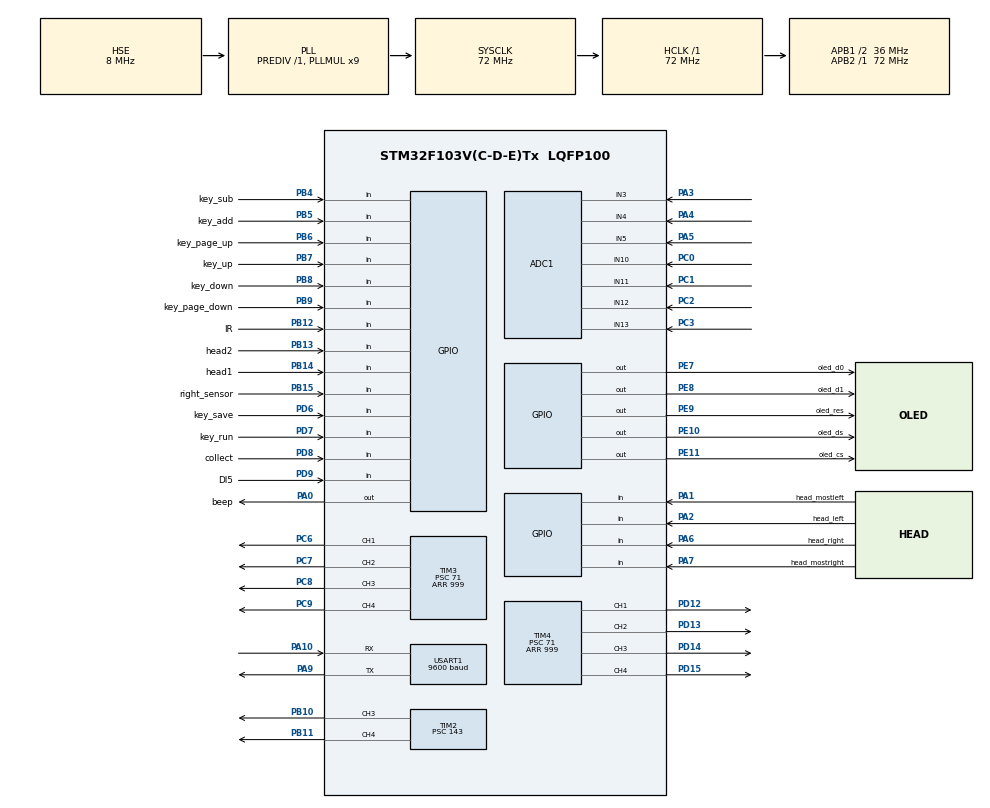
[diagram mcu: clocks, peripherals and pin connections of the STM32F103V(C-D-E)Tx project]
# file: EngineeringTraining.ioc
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ADC1.Channel-0\#ChannelRegularConversion=ADC_CHANNEL_3
ADC1.Channel-1\#ChannelRegularConversion=ADC_CHANNEL_4
ADC1.Channel-2\#ChannelRegularConversion=ADC_CHANNEL_5
ADC1.Channel-3\#ChannelRegularConversion=ADC_CHANNEL_10
ADC1.Channel-4\#ChannelRegularConversion=ADC_CHANNEL_11
ADC1.Channel-5\#ChannelRegularConversion=ADC_CHANNEL_12
ADC1.Channel-6\#ChannelRegularConversion=ADC_CHANNEL_13
ADC1.ContinuousConvMode=ENABLE
ADC1.DataAlign=ADC_DATAALIGN_RIGHT
ADC1.DiscontinuousConvMode=DISABLE
ADC1.EnableAnalogWatchDog=false
ADC1.EnableRegularConversion=ENABLE
ADC1.ExternalTrigConv=ADC_SOFTWARE_START
ADC1.InjNumberOfConversion=0
ADC1.NbrOfConversion=7
ADC1.NbrOfConversionFlag=1
ADC1.Rank-0\#ChannelRegularConversion=1
ADC1.Rank-1\#ChannelRegularConversion=2
ADC1.Rank-2\#ChannelRegularConversion=3
ADC1.Rank-3\#ChannelRegularConversion=4
ADC1.Rank-4\#ChannelRegularConversion=5
ADC1.Rank-5\#ChannelRegularConversion=6
ADC1.Rank-6\#ChannelRegularConversion=7
ADC1.SamplingTime-0\#ChannelRegularConversion=ADC_SAMPLETIME_71CYCLES_5
ADC1.SamplingTime-1\#ChannelRegularConversion=ADC_SAMPLETIME_71CYCLES_5
ADC1.SamplingTime-2\#ChannelRegularConversion=ADC_SAMPLETIME_71CYCLES_5
ADC1.SamplingTime-3\#ChannelRegularConversion=ADC_SAMPLETIME_71CYCLES_5
ADC1.SamplingTime-4\#ChannelRegularConversion=ADC_SAMPLETIME_71CYCLES_5
ADC1.SamplingTime-5\#ChannelRegularConversion=ADC_SAMPLETIME_71CYCLES_5
ADC1.SamplingTime-6\#ChannelRegularConversion=ADC_SAMPLETIME_71CYCLES_5
ADC1.ScanConvMode=ADC_SCAN_ENABLE
ADC1.master=1
Dma.ADC1.0.Direction=DMA_PERIPH_TO_MEMORY
Dma.ADC1.0.Instance=DMA1_Channel1
Dma.ADC1.0.MemDataAlignment=DMA_MDATAALIGN_WORD
Dma.ADC1.0.MemInc=DMA_MINC_ENABLE
Dma.ADC1.0.Mode=DMA_CIRCULAR
Dma.ADC1.0.PeriphDataAlignment=DMA_PDATAALIGN_WORD
Dma.ADC1.0.PeriphInc=DMA_PINC_DISABLE
Dma.ADC1.0.Priority=DMA_PRIORITY_LOW
Dma.Request0=ADC1
Dma.Request1=USART1_TX
Dma.USART1_TX.1.Direction=DMA_MEMORY_TO_PERIPH
Dma.USART1_TX.1.Instance=DMA1_Channel4
Dma.USART1_TX.1.MemDataAlignment=DMA_MDATAALIGN_BYTE
Dma.USART1_TX.1.MemInc=DMA_MINC_ENABLE
Dma.USART1_TX.1.Mode=DMA_NORMAL
Dma.USART1_TX.1.PeriphDataAlignment=DMA_PDATAALIGN_BYTE
Dma.USART1_TX.1.PeriphInc=DMA_PINC_DISABLE
Dma.USART1_TX.1.Priority=DMA_PRIORITY_LOW
Mcu.Family=STM32F1
Mcu.Name=STM32F103V(C-D-E)Tx
Mcu.Package=LQFP100
NVIC.DMA1_Channel1_IRQn=true\:0\:0\:false\:false\:true\:false
NVIC.DMA1_Channel4_IRQn=true\:0\:0\:false\:false\:true\:false
NVIC.PriorityGroup=NVIC_PRIORITYGROUP_4
NVIC.TIM7_IRQn=true\:0\:0\:false\:false\:true\:true
NVIC.USART1_IRQn=true\:0\:0\:false\:false\:true\:true
OSC_IN.Mode=HSE-External-Oscillator
OSC_IN.Signal=RCC_OSC_IN
OSC_OUT.Mode=HSE-External-Oscillator
OSC_OUT.Signal=RCC_OSC_OUT
PA0-WKUP.GPIO_Label=beep
PA0-WKUP.GPIO_ModeDefaultOutputPP=GPIO_MODE_OUTPUT_PP
PA0-WKUP.GPIO_Speed=GPIO_SPEED_FREQ_HIGH
PA0-WKUP.PinState=GPIO_PIN_RESET
PA0-WKUP.Signal=GPIO_Output
PA1.GPIO_Label=head_mostleft
PA1.GPIO_Mode=GPIO_MODE_INPUT
PA1.GPIO_PuPd=GPIO_PULLUP
PA1.Signal=GPIO_Input
PA10.Mode=Asynchronous
PA10.Signal=USART1_RX
PA13.Mode=Serial_Wire
PA13.Signal=SYS_JTMS-SWDIO
PA14.Mode=Serial_Wire
PA14.Signal=SYS_JTCK-SWCLK
PA2.GPIO_Label=head_left
PA2.GPIO_Mode=GPIO_MODE_INPUT
PA2.GPIO_PuPd=GPIO_PULLUP
PA2.Signal=GPIO_Input
PA3.Signal=ADCx_IN3
PA4.Signal=ADCx_IN4
PA5.Signal=ADCx_IN5
PA6.GPIO_Label=head_right
PA6.GPIO_Mode=GPIO_MODE_INPUT
PA6.GPIO_PuPd=GPIO_PULLUP
PA6.Signal=GPIO_Input
PA7.GPIO_Label=head_mostright
PA7.GPIO_Mode=GPIO_MODE_INPUT
PA7.GPIO_PuPd=GPIO_PULLUP
PA7.Signal=GPIO_Input
PA9.Mode=Asynchronous
PA9.Signal=USART1_TX
PB10.Signal=S_TIM2_CH3
PB11.Signal=S_TIM2_CH4
PB12.GPIO_Label=IR
PB12.GPIO_PuPd=GPIO_PULLUP
PB12.Signal=GPIO_Input
PB13.GPIO_Label=head2
PB13.GPIO_PuPd=GPIO_PULLUP
PB13.Signal=GPIO_Input
PB14.GPIO_Label=head1
PB14.GPIO_PuPd=GPIO_PULLUP
PB14.Signal=GPIO_Input
PB15.GPIO_Label=right_sensor
PB15.GPIO_PuPd=GPIO_PULLUP
PB15.Signal=GPIO_Input
PB4.GPIO_Label=key_sub
PB4.GPIO_PuPd=GPIO_PULLUP
PB4.Signal=GPIO_Input
PB5.GPIO_Label=key_add
PB5.GPIO_PuPd=GPIO_PULLUP
PB5.Signal=GPIO_Input
PB6.GPIO_Label=key_page_up
PB6.GPIO_PuPd=GPIO_PULLUP
PB6.Signal=GPIO_Input
PB7.GPIO_Label=key_up
PB7.GPIO_PuPd=GPIO_PULLUP
PB7.Signal=GPIO_Input
PB8.GPIO_Label=key_down
PB8.GPIO_PuPd=GPIO_PULLUP
PB8.Signal=GPIO_Input
PB9.GPIO_Label=key_page_down
PB9.GPIO_PuPd=GPIO_PULLUP
PB9.Signal=GPIO_Input
PC0.Signal=ADCx_IN10
PC1.Signal=ADCx_IN11
PC2.Signal=ADCx_IN12
PC3.Signal=ADCx_IN13
PC6.Signal=S_TIM3_CH1
PC7.Signal=S_TIM3_CH2
PC8.Signal=S_TIM3_CH3
PC9.Signal=S_TIM3_CH4
PD12.Signal=S_TIM4_CH1
PD13.Signal=S_TIM4_CH2
PD14.Signal=S_TIM4_CH3
PD15.Signal=S_TIM4_CH4
PD6.GPIO_Label=key_save
PD6.GPIO_PuPd=GPIO_PULLUP
PD6.Signal=GPIO_Input
PD7.GPIO_Label=key_run
PD7.GPIO_PuPd=GPIO_PULLUP
PD7.Signal=GPIO_Input
PD8.GPIO_Label=collect
PD8.GPIO_PuPd=GPIO_PULLUP
PD8.Signal=GPIO_Input
PD9.GPIO_Label=DI5
PD9.GPIO_PuPd=GPIO_PULLUP
PD9.Signal=GPIO_Input
PE10.GPIO_Label=oled_ds
PE10.GPIO_ModeDefaultOutputPP=GPIO_MODE_OUTPUT_PP
PE10.GPIO_Speed=GPIO_SPEED_FREQ_HIGH
PE10.PinState=GPIO_PIN_RESET
PE10.Signal=GPIO_Output
PE11.GPIO_Label=oled_cs
PE11.GPIO_ModeDefaultOutputPP=GPIO_MODE_OUTPUT_PP
PE11.GPIO_Speed=GPIO_SPEED_FREQ_HIGH
PE11.PinState=GPIO_PIN_RESET
PE11.Signal=GPIO_Output
PE7.GPIO_Label=oled_d0
PE7.GPIO_ModeDefaultOutputPP=GPIO_MODE_OUTPUT_PP
PE7.GPIO_Speed=GPIO_SPEED_FREQ_HIGH
PE7.PinState=GPIO_PIN_RESET
PE7.Signal=GPIO_Output
PE8.GPIO_Label=oled_d1
PE8.GPIO_ModeDefaultOutputPP=GPIO_MODE_OUTPUT_PP
PE8.GPIO_Speed=GPIO_SPEED_FREQ_HIGH
PE8.PinState=GPIO_PIN_RESET
PE8.Signal=GPIO_Output
PE9.GPIO_Label=oled_res
PE9.GPIO_ModeDefaultOutputPP=GPIO_MODE_OUTPUT_PP
PE9.GPIO_Speed=GPIO_SPEED_FREQ_HIGH
PE9.PinState=GPIO_PIN_RESET
PE9.Signal=GPIO_Output
ProjectManager.HeapSize=0x200
ProjectManager.StackSize=0x400
ProjectManager.TargetToolchain=MDK-ARM V5
RCC.ADCPresc=RCC_ADCPCLK2_DIV6
RCC.AHBFreq_Value=72000000
RCC.APB1CLKDivider=RCC_HCLK_DIV2
RCC.APB1Freq_Value=36000000
RCC.APB1TimFreq_Value=72000000
RCC.APB2Freq_Value=72000000
RCC.APB2TimFreq_Value=72000000
RCC.HCLKFreq_Value=72000000
RCC.PLLMUL=RCC_PLL_MUL9
RCC.PLLSourceVirtual=RCC_PLLSOURCE_HSE
RCC.SYSCLKFreq_VALUE=72000000
RCC.SYSCLKSource=RCC_SYSCLKSOURCE_PLLCLK
RCC.USBFreq_Value=72000000
SH.ADCx_IN10.0=ADC1_IN10,IN10
SH.ADCx_IN11.0=ADC1_IN11,IN11
SH.ADCx_IN12.0=ADC1_IN12,IN12
SH.ADCx_IN13.0=ADC1_IN13,IN13
SH.ADCx_IN3.0=ADC1_IN3,IN3
SH.ADCx_IN4.0=ADC1_IN4,IN4
SH.ADCx_IN5.0=ADC1_IN5,IN5
SH.S_TIM2_CH3.0=TIM2_CH3,PWM Generation3 CH3
SH.S_TIM2_CH4.0=TIM2_CH4,PWM Generation4 CH4
SH.S_TIM3_CH1.0=TIM3_CH1,PWM Generation1 CH1
SH.S_TIM3_CH2.0=TIM3_CH2,PWM Generation2 CH2
SH.S_TIM3_CH3.0=TIM3_CH3,PWM Generation3 CH3
SH.S_TIM3_CH4.0=TIM3_CH4,PWM Generation4 CH4
SH.S_TIM4_CH1.0=TIM4_CH1,PWM Generation1 CH1
SH.S_TIM4_CH2.0=TIM4_CH2,PWM Generation2 CH2
SH.S_TIM4_CH3.0=TIM4_CH3,PWM Generation3 CH3
SH.S_TIM4_CH4.0=TIM4_CH4,PWM Generation4 CH4
TIM2.Channel-PWM\ Generation3\ CH3=TIM_CHANNEL_3
TIM2.Channel-PWM\ Generation4\ CH4=TIM_CHANNEL_4
TIM2.Period=9999
TIM2.Prescaler=143
TIM2.Pulse-PWM\ Generation3\ CH3=1000
TIM2.Pulse-PWM\ Generation4\ CH4=1000
TIM3.Channel-PWM\ Generation1\ CH1=TIM_CHANNEL_1
TIM3.Channel-PWM\ Generation2\ CH2=TIM_CHANNEL_2
TIM3.Channel-PWM\ Generation3\ CH3=TIM_CHANNEL_3
TIM3.Channel-PWM\ Generation4\ CH4=TIM_CHANNEL_4
TIM3.Period=999
TIM3.Prescaler=71
TIM4.Channel-PWM\ Generation1\ CH1=TIM_CHANNEL_1
TIM4.Channel-PWM\ Generation2\ CH2=TIM_CHANNEL_2
TIM4.Channel-PWM\ Generation3\ CH3=TIM_CHANNEL_3
TIM4.Channel-PWM\ Generation4\ CH4=TIM_CHANNEL_4
TIM4.Period=999
TIM4.Prescaler=71
TIM7.Period=3599
TIM7.Prescaler=99
USART1.BaudRate=9600
USART1.VirtualMode=VM_ASYNC
VP_TIM7_VS_ClockSourceINT.Mode=Enable_Timer
board=EngineeringTraining

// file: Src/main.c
/**
  ******************************************************************************
  * File Name          : main.c
  * Description        : Main program body
  ******************************************************************************
  ** This notice applies to any and all portions of this file
  * that are not between comment pairs USER CODE BEGIN and
  * USER CODE END. Other portions of this file, whether
  * inserted by the user or by software development tools
  * are owned by their respective copyright owners.
  *
  * COPYRIGHT(c) 2017 STMicroelectronics
  *
  * Redistribution and use in source and binary forms, with or without modification,
  * are permitted provided that the following conditions are met:
  *   1. Redistributions of source code must retain the above copyright notice,
  *      this list of conditions and the following disclaimer.
  *   2. Redistributions in binary form must reproduce the above copyright notice,
  *      this list of conditions and the following disclaimer in the documentation
  *      and/or other materials provided with the distribution.
  *   3. Neither the name of STMicroelectronics nor the names of its contributors
  *      may be used to endorse or promote products derived from this software
  *      without specific prior written permission.
  *
  * THIS SOFTWARE IS PROVIDED BY THE COPYRIGHT HOLDERS AND CONTRIBUTORS "AS IS"
  * AND ANY EXPRESS OR IMPLIED WARRANTIES, INCLUDING, BUT NOT LIMITED TO, THE
  * IMPLIED WARRANTIES OF MERCHANTABILITY AND FITNESS FOR A PARTICULAR PURPOSE ARE
  * DISCLAIMED. IN NO EVENT SHALL THE COPYRIGHT HOLDER OR CONTRIBUTORS BE LIABLE
  * FOR ANY DIRECT, INDIRECT, INCIDENTAL, SPECIAL, EXEMPLARY, OR CONSEQUENTIAL
  * DAMAGES (INCLUDING, BUT NOT LIMITED TO, PROCUREMENT OF SUBSTITUTE GOODS OR
  * SERVICES; LOSS OF USE, DATA, OR PROFITS; OR BUSINESS INTERRUPTION) HOWEVER
  * CAUSED AND ON ANY THEORY OF LIABILITY, WHETHER IN CONTRACT, STRICT LIABILITY,
  * OR TORT (INCLUDING NEGLIGENCE OR OTHERWISE) ARISING IN ANY WAY OUT OF THE USE
  * OF THIS SOFTWARE, EVEN IF ADVISED OF THE POSSIBILITY OF SUCH DAMAGE.
  *
  ******************************************************************************
  */
#include "main.h"
#include "stm32f1xx_hal.h"
#include "adc.h"
#include "dma.h"
#include "tim.h"
#include "usart.h"
#include "gpio.h"

/* USER CODE BEGIN Includes */
#include "key.h"
#include "ui.h"
#include "oled.h"
#include "control.h"
#include "at24c02.h"
/* USER CODE END Includes */

/* USER CODE BEGIN PV */
/* Private variables ---------------------------------------------------------*/

/* USER CODE END PV */

void SystemClock_Config(void);

/* USER CODE BEGIN PFP */
/* Private function prototypes -----------------------------------------------*/

/* USER CODE END PFP */

int main(void)
{

  /* USER CODE BEGIN 1 */
    uint8_t servo_tx_buf[7] = {0x55,0x55,0x05,0x06,0x00,0x01,0x00};
  /* USER CODE END 1 */

  /* MCU Configuration----------------------------------------------------------*/

  /* Reset of all peripherals, Initializes the Flash interface and the Systick. */
  HAL_Init();

  /* Configure the system clock */
  SystemClock_Config();

  /* USER CODE BEGIN SysInit */

  HAL_Delay(1500);
  /* USER CODE END SysInit */

  /* Initialize all configured peripherals */
  MX_GPIO_Init();
  MX_DMA_Init();
  MX_USART1_UART_Init();
  MX_ADC1_Init();
  MX_TIM3_Init();
  MX_TIM4_Init();
  MX_TIM2_Init();
  MX_TIM7_Init();

  /* USER CODE BEGIN 2 */
    //启动定时器
    HAL_TIM_Base_Start(&htim2);
    HAL_TIM_Base_Start(&htim3);
    HAL_TIM_Base_Start(&htim4);
    HAL_TIM_Base_Start_IT(&htim7);
    //启动PWM

    HAL_TIM_PWM_Start(&htim2,TIM_CHANNEL_3);
    HAL_TIM_PWM_Start(&htim2,TIM_CHANNEL_4);

    HAL_TIM_PWM_Start(&htim3,TIM_CHANNEL_1);
    HAL_TIM_PWM_Start(&htim3,TIM_CHANNEL_2);
    HAL_TIM_PWM_Start(&htim3,TIM_CHANNEL_3);
    HAL_TIM_PWM_Start(&htim3,TIM_CHANNEL_4);

    HAL_TIM_PWM_Start(&htim4,TIM_CHANNEL_1);
    HAL_TIM_PWM_Start(&htim4,TIM_CHANNEL_2);
    HAL_TIM_PWM_Start(&htim4,TIM_CHANNEL_3);
    HAL_TIM_PWM_Start(&htim4,TIM_CHANNEL_4);
    motor(0,0,0);
    __HAL_TIM_SET_COMPARE(&htim2,TIM_CHANNEL_3,up_unfixed_duty);
    __HAL_TIM_SET_COMPARE(&htim2,TIM_CHANNEL_4,down_unfixed_duty);

    //初始化ADC
    HAL_ADC_Start_DMA(&hadc1,adc_values,7);
    //按键任务初始化
    key_init();
    //OLED初始化
    OLED_Init();
    OLED_ClearScreen();
    /*
    while(1)
    {
        __HAL_TIM_SET_COMPARE(&htim2,TIM_CHANNEL_3,up_unfixed_duty);
        __HAL_TIM_SET_COMPARE(&htim2,TIM_CHANNEL_4,down_unfixed_duty);
        oled_printf(0,0,"down unfix: %d",down_unfixed_duty);
        oled_printf(0,2,"up   unfix: %d",up_unfixed_duty);
        OLED_Updata();
        OLED_ClearScreen();
        while(HAL_GPIO_ReadPin(key_run_GPIO_Port,key_run_Pin) == GPIO_PIN_SET);
        HAL_Delay(20);
        while(HAL_GPIO_ReadPin(key_run_GPIO_Port,key_run_Pin) == GPIO_PIN_SET);
        HAL_Delay(20);
        while(HAL_GPIO_ReadPin(key_run_GPIO_Port,key_run_Pin) == GPIO_PIN_RESET);
        HAL_Delay(20);
        while(HAL_GPIO_ReadPin(key_run_GPIO_Port,key_run_Pin) == GPIO_PIN_RESET);
        HAL_Delay(100);
        __HAL_TIM_SET_COMPARE(&htim2,TIM_CHANNEL_3,up_fixed_duty);
        __HAL_TIM_SET_COMPARE(&htim2,TIM_CHANNEL_4,down_fixed_duty);
        oled_printf(0,0,"down fix: %d",down_fixed_duty);
        oled_printf(0,2,"up   fix: %d",up_fixed_duty);
        OLED_Updata();
        OLED_ClearScreen();
        while(HAL_GPIO_ReadPin(key_run_GPIO_Port,key_run_Pin) == GPIO_PIN_SET);
        HAL_Delay(20);
        while(HAL_GPIO_ReadPin(key_run_GPIO_Port,key_run_Pin) == GPIO_PIN_SET);
        HAL_Delay(20);
        while(HAL_GPIO_ReadPin(key_run_GPIO_Port,key_run_Pin) == GPIO_PIN_RESET);
        HAL_Delay(20);
        while(HAL_GPIO_ReadPin(key_run_GPIO_Port,key_run_Pin) == GPIO_PIN_RESET);
        HAL_Delay(100);
    }
    */

    oled_printf(6,3,"Action 0");
    OLED_Updata();
    OLED_ClearScreen();
    servo_tx_buf[4] = 0;
    HAL_UART_Transmit(&huart1,servo_tx_buf,7,100);
    HAL_Delay(500);

    oled_printf(6,3,"Reading");
    OLED_Updata();
    HAL_Delay(100);
    read_parama();
    HAL_Delay(100);
    OLED_ClearScreen();
    oled_printf(6,3,"Read OK");
    OLED_Updata();
    HAL_Delay(100);
  /* USER CODE END 2 */

  /* Infinite loop */
  while (1)
  {

  /* USER CODE BEGIN 3 */
      environment_collect();
      ui_display();
      save_parama();
      if(action_num < 100)
      {
          servo_tx_buf[4] = action_num;
          action_num = 100;
          HAL_UART_Transmit(&huart1,servo_tx_buf,7,100);
          HAL_Delay(20);
      }

  }
  /* USER CODE END 3 */

}

/** System Clock Configuration
*/
void SystemClock_Config(void)
{

  RCC_OscInitTypeDef RCC_OscInitStruct;
  RCC_ClkInitTypeDef RCC_ClkInitStruct;
  RCC_PeriphCLKInitTypeDef PeriphClkInit;

    /**Initializes the CPU, AHB and APB busses clocks
    */
  RCC_OscInitStruct.OscillatorType = RCC_OSCILLATORTYPE_HSE;
  RCC_OscInitStruct.HSEState = RCC_HSE_ON;
  RCC_OscInitStruct.HSEPredivValue = RCC_HSE_PREDIV_DIV1;
  RCC_OscInitStruct.HSIState = RCC_HSI_ON;
  RCC_OscInitStruct.PLL.PLLState = RCC_PLL_ON;
  RCC_OscInitStruct.PLL.PLLSource = RCC_PLLSOURCE_HSE;
  RCC_OscInitStruct.PLL.PLLMUL = RCC_PLL_MUL9;
  if (HAL_RCC_OscConfig(&RCC_OscInitStruct) != HAL_OK)
  {
    _Error_Handler(__FILE__, __LINE__);
  }

    /**Initializes the CPU, AHB and APB busses clocks
    */
  RCC_ClkInitStruct.ClockType = RCC_CLOCKTYPE_HCLK|RCC_CLOCKTYPE_SYSCLK
                              |RCC_CLOCKTYPE_PCLK1|RCC_CLOCKTYPE_PCLK2;
  RCC_ClkInitStruct.SYSCLKSource = RCC_SYSCLKSOURCE_PLLCLK;
  RCC_ClkInitStruct.AHBCLKDivider = RCC_SYSCLK_DIV1;
  RCC_ClkInitStruct.APB1CLKDivider = RCC_HCLK_DIV2;
  RCC_ClkInitStruct.APB2CLKDivider = RCC_HCLK_DIV1;

  if (HAL_RCC_ClockConfig(&RCC_ClkInitStruct, FLASH_LATENCY_2) != HAL_OK)
  {
    _Error_Handler(__FILE__, __LINE__);
  }

  PeriphClkInit.PeriphClockSelection = RCC_PERIPHCLK_ADC;
  PeriphClkInit.AdcClockSelection = RCC_ADCPCLK2_DIV6;
  if (HAL_RCCEx_PeriphCLKConfig(&PeriphClkInit) != HAL_OK)
  {
    _Error_Handler(__FILE__, __LINE__);
  }

    /**Configure the Systick interrupt time
    */
  HAL_SYSTICK_Config(HAL_RCC_GetHCLKFreq()/1000);

    /**Configure the Systick
    */
  HAL_SYSTICK_CLKSourceConfig(SYSTICK_CLKSOURCE_HCLK);

  /* SysTick_IRQn interrupt configuration */
  HAL_NVIC_SetPriority(SysTick_IRQn, 0, 0);
}

void _Error_Handler(char * file, int line)
{
  /* USER CODE BEGIN Error_Handler_Debug */
  /* User can add his own implementation to report the HAL error return state */
    OLED_Clear();
    OLED_ClearScreen();
    oled_printf(0,0,"file name:");
    oled_printf(0,1,"%s",file);
    oled_printf(0,2,"line:");
    oled_printf(0,1,"%d",line);
    OLED_Updata();
  while(1)
  {
  }
  /* USER CODE END Error_Handler_Debug */
}

/************************ (C) COPYRIGHT STMicroelectronics *****END OF FILE****/
